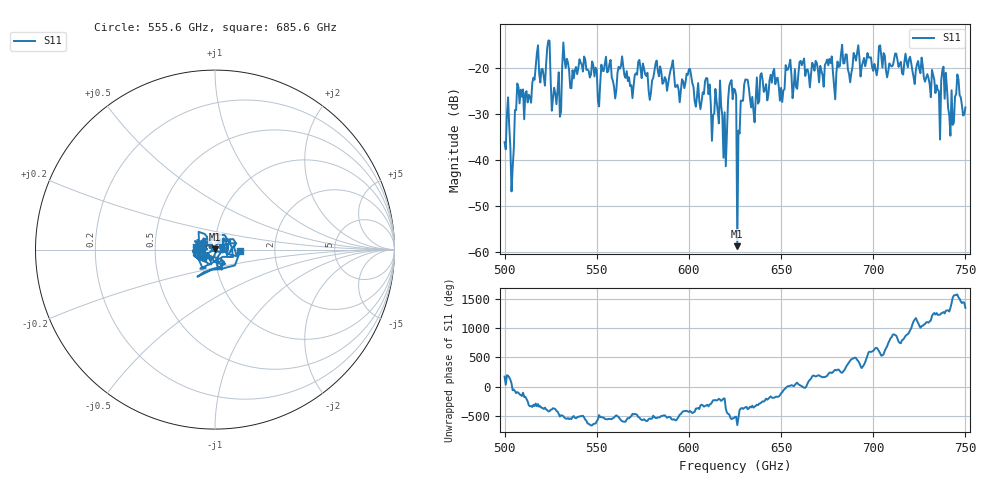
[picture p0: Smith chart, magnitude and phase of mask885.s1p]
!Created with skrf (http://scikit-rf.org).
# GHz S MA R 50.0
!freq magS11 angS11
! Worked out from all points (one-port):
!   401 points, 500 GHz to 750 GHz, reference 50 ohm
!   lowest |S11| = -58.8 dB at 626.2 GHz (marker M1), VSWR 1.00, Z = 50.1 + j0.104 ohm
!   |S11| at or under -10 dB: start of sweep to end of sweep
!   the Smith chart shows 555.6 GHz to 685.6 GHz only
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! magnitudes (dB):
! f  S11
! 500 GHz  -36.1
! 501.9 GHz  -26.4
! 503.8 GHz  -46.8
! 506.9 GHz  -23.3
! 513.8 GHz  -26.3
! 516.9 GHz  -19.5
! 523.8 GHz  -14.0
! 526.9 GHz  -24.3
! 531.2 GHz  -19.5
! 533.1 GHz  -20.0
! 550.6 GHz  -27.2
! 562.5 GHz  -20.1
! 593.8 GHz  -23.6
! 610 GHz  -22.2
! 619.4 GHz  -29.6
! 623.1 GHz  -22.6
! 624.4 GHz  -24.5
! 625 GHz  -24.7
! 626.2 GHz  -58.8
! 631.2 GHz  -22.5
! 635 GHz  -29.2
! 656.2 GHz  -26.5
! 687.5 GHz  -23.1
! 718.8 GHz  -19.8
! 738.8 GHz  -26.7
! 742.5 GHz  -24.8
! 745.6 GHz  -21.4
! 750 GHz  -28.5
